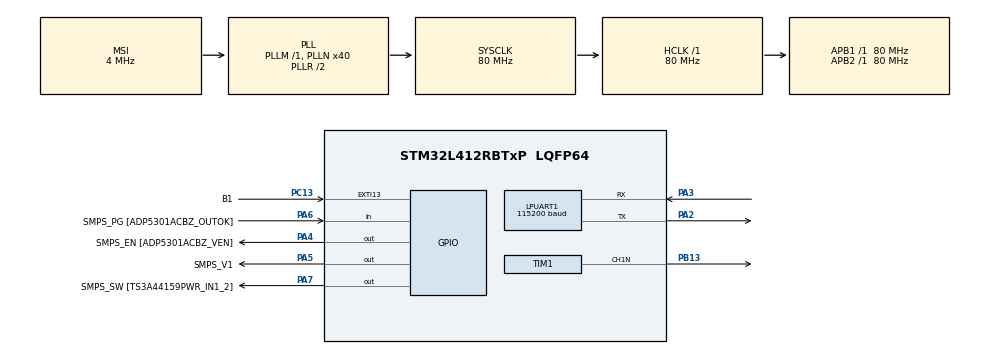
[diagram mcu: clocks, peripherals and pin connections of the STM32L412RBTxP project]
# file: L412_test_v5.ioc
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LPUART1.BaudRate=115200
LPUART1.WordLength=UART_WORDLENGTH_8B
Mcu.Family=STM32L4
Mcu.Name=STM32L412RBTxP
Mcu.Package=LQFP64
NVIC.EXTI15_10_IRQn=true\:0\:0\:false\:false\:true\:true\:true\:true
NVIC.PriorityGroup=NVIC_PRIORITYGROUP_4
PA13\ (JTMS/SWDIO).GPIO_Label=TMS
PA13\ (JTMS/SWDIO).Mode=Serial_Wire
PA13\ (JTMS/SWDIO).Signal=SYS_JTMS-SWDIO
PA14\ (JTCK/SWCLK).GPIO_Label=TCK
PA14\ (JTCK/SWCLK).Mode=Serial_Wire
PA14\ (JTCK/SWCLK).Signal=SYS_JTCK-SWCLK
PA2.Mode=Asynchronous
PA2.Signal=LPUART1_TX
PA3.Mode=Asynchronous
PA3.Signal=LPUART1_RX
PA4.GPIO_Label=SMPS_EN [ADP5301ACBZ_VEN]
PA4.Signal=GPIO_Output
PA5.GPIO_Label=SMPS_V1
PA5.GPIO_ModeDefaultOutputPP=GPIO_MODE_OUTPUT_PP
PA5.GPIO_PuPd=GPIO_NOPULL
PA5.GPIO_Speed=GPIO_SPEED_FREQ_LOW
PA5.Signal=GPIO_Output
PA6.GPIO_Label=SMPS_PG [ADP5301ACBZ_OUTOK]
PA6.GPIO_PuPd=GPIO_PULLUP
PA6.Signal=GPIO_Input
PA7.GPIO_Label=SMPS_SW [TS3A44159PWR_IN1_2]
PA7.Signal=GPIO_Output
PB13.Mode=PWM Generation1 CH1N
PB13.Signal=TIM1_CH1N
PB3\ (JTDO/TRACESWO).GPIO_Label=SWO
PB3\ (JTDO/TRACESWO).Signal=SYS_JTDO-SWO
PC13.GPIO_Label=B1
PC13.Signal=GPXTI13
PC14-OSC32_IN\ (PC14).Mode=LSE-External-Oscillator
PC14-OSC32_IN\ (PC14).Signal=RCC_OSC32_IN
PC15-OSC32_OUT\ (PC15).Mode=LSE-External-Oscillator
PC15-OSC32_OUT\ (PC15).Signal=RCC_OSC32_OUT
PH0-OSC_IN\ (PH0).GPIO_Label=MCO
PH0-OSC_IN\ (PH0).Mode=HSE-External-Clock-Source
PH0-OSC_IN\ (PH0).Signal=RCC_OSC_IN
PH1-OSC_OUT\ (PH1).Signal=RCC_OSC_OUT
ProjectManager.HeapSize=0x200
ProjectManager.StackSize=0x400
ProjectManager.TargetToolchain=STM32CubeIDE
RCC.ADCFreq_Value=80000000
RCC.AHBFreq_Value=80000000
RCC.APB1Freq_Value=80000000
RCC.APB1TimFreq_Value=80000000
RCC.APB2Freq_Value=80000000
RCC.APB2TimFreq_Value=80000000
RCC.CortexFreq_Value=80000000
RCC.FLatency=FLASH_LATENCY_4
RCC.HCLKFreq_Value=80000000
RCC.HSE_VALUE=8000000
RCC.HSI48_VALUE=48000000
RCC.HSICalibrationValue=64
RCC.HSI_VALUE=16000000
RCC.MSIAutoCalibration=DISABLED
RCC.MSI_VALUE=4000000
RCC.PLLN=40
RCC.PREFETCH_ENABLE=1
RCC.SYSCLKFreq_VALUE=80000000
RCC.SYSCLKSource=RCC_SYSCLKSOURCE_PLLCLK
RCC.USBFreq_Value=4000000
RCC.VCOOutputFreq_Value=160000000
TIM1.Channel-PWM\ Generation1\ CH1N=TIM_CHANNEL_1
TIM1.Prescaler=79
TIM2.TIM_MasterSlaveMode=TIM_MASTERSLAVEMODE_DISABLE
VP_TIM1_VS_ClockSourceINT.Mode=Internal
VP_TIM2_VS_ClockSourceINT.Mode=Internal
board=NUCLEO-L412RB-P

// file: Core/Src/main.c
/* USER CODE BEGIN Header */
/**
  ******************************************************************************
  * @file           : main.c
  * @brief          : Main program body
  ******************************************************************************
  * @attention
  *
  * Copyright (c) 2025 STMicroelectronics.
  * All rights reserved.
  *
  * This software is licensed under terms that can be found in the LICENSE file
  * in the root directory of this software component.
  * If no LICENSE file comes with this software, it is provided AS-IS.
  *
  ******************************************************************************
  */
/* USER CODE END Header */
#include "main.h"

/* USER CODE BEGIN Includes */
//add
#include <string.h>
#include <stdio.h>
/* USER CODE END Includes */

UART_HandleTypeDef hlpuart1;

TIM_HandleTypeDef htim1;
TIM_HandleTypeDef htim2;

/* USER CODE BEGIN PV */
//add
volatile uint8_t g_mode = 0;      // 0=OFF, 1..3=mode - off 상태로 시작
volatile uint8_t g_update = 0;
static uint32_t g_last_btn_ms = 0; // debounce

/* USER CODE END PV */

void SystemClock_Config(void);
static void MX_GPIO_Init(void);
static void MX_LPUART1_UART_Init(void);
static void MX_TIM1_Init(void);
static void MX_TIM2_Init(void);

/* USER CODE BEGIN 0 */
//add
static void PWM_ApplyMode(uint8_t mode)
{
  // TIM1 tick = 1MHz because PSC=79 (already set in MX_TIM1_Init)
  // ARR = (1MHz / freq) - 1
  uint32_t arr = 0;
  uint32_t ccr = 0;

  if (mode == 0)
  {
    HAL_TIMEx_PWMN_Stop(&htim1, TIM_CHANNEL_1);
    return;
  }

  switch (mode)
  {
    case 1: // 1kHz 10%
      arr = 1000 - 1;
      ccr = (1000 * 10) / 100;
      break;

    case 2: // 3kHz 30% (근사: 3003Hz)
      arr = 333 - 1;
      ccr = (333 * 30) / 100;
      break;

    case 3: // 10kHz 99%
      arr = 100 - 1;
      ccr = (100 * 99) / 100;
      break;
  }

  __HAL_TIM_SET_AUTORELOAD(&htim1, arr);
  __HAL_TIM_SET_COMPARE(&htim1, TIM_CHANNEL_1, ccr);
  __HAL_TIM_SET_COUNTER(&htim1, 0);
// 카운터 0 초기화
  // CH1N 출력 시작(핵심)
  HAL_TIMEx_PWMN_Start(&htim1, TIM_CHANNEL_1);
}

/* USER CODE END 0 */

int main(void)
{

  /* MCU Configuration--------------------------------------------------------*/

  /* Reset of all peripherals, Initializes the Flash interface and the Systick. */
  HAL_Init();

  /* Configure the system clock */
  SystemClock_Config();

  /* Initialize all configured peripherals */
  MX_GPIO_Init();
  MX_LPUART1_UART_Init();
  MX_TIM1_Init();
  MX_TIM2_Init();
  /* USER CODE BEGIN 2 */
// add
// PWM 초기 적용 (OFF)
PWM_ApplyMode(0);

  // add
  // void HAL_GPIO_EXTI_Callback(uint16_t GPIO_Pin)
  // {
  //   if (GPIO_Pin == B1_Pin)
  //   {
  //     uint8_t str[] = "Button Pressed\r\n";
  //     HAL_UART_Transmit(&hlpuart1, str, sizeof(str), 100);
  //   }
  // }
  /* USER CODE END 2 */

  /* Infinite loop */
  /* USER CODE BEGIN WHILE */
  while (1)
  {
      //add
      if (g_update)
    {
      g_update = 0;

      PWM_ApplyMode(g_mode);

      char buf[64];
      int n = 0;
      switch (g_mode)
      {
        case 0: n = snprintf(buf, sizeof(buf), "PWM OFF\r\n"); break;
        case 1: n = snprintf(buf, sizeof(buf), "PWM 1kHz 10%%\r\n"); break;
        case 2: n = snprintf(buf, sizeof(buf), "PWM 3kHz 30%%\r\n"); break;
        case 3: n = snprintf(buf, sizeof(buf), "PWM 10kHz 99%%\r\n"); break;
      }

      uint8_t str[] = "Button Pressed\r\n";
      HAL_UART_Transmit(&hlpuart1, str, sizeof(str), 100);
      HAL_UART_Transmit(&hlpuart1, (uint8_t*)buf, (uint16_t)n, 100);
    }
    // HAL_GPIO_WritePin(LD4_GPIO_Port, LD4_Pin, GPIO_PIN_SET);  // LED On
    // HAL_Delay(500);
    // HAL_GPIO_WritePin(LD4_GPIO_Port, LD4_Pin, GPIO_PIN_RESET);  // LED Off
    // HAL_Delay(500);
    /* USER CODE END WHILE */

}

void SystemClock_Config(void)
{
  RCC_OscInitTypeDef RCC_OscInitStruct = {0};
  RCC_ClkInitTypeDef RCC_ClkInitStruct = {0};

  /** Configure the main internal regulator output voltage
  */
  if (HAL_PWREx_ControlVoltageScaling(PWR_REGULATOR_VOLTAGE_SCALE1) != HAL_OK)
  {
    Error_Handler();
  }

  /** Initializes the RCC Oscillators according to the specified parameters
  * in the RCC_OscInitTypeDef structure.
  */
  RCC_OscInitStruct.OscillatorType = RCC_OSCILLATORTYPE_MSI;
  RCC_OscInitStruct.MSIState = RCC_MSI_ON;
  RCC_OscInitStruct.MSICalibrationValue = 0;
  RCC_OscInitStruct.MSIClockRange = RCC_MSIRANGE_6;
  RCC_OscInitStruct.PLL.PLLState = RCC_PLL_ON;
  RCC_OscInitStruct.PLL.PLLSource = RCC_PLLSOURCE_MSI;
  RCC_OscInitStruct.PLL.PLLM = 1;
  RCC_OscInitStruct.PLL.PLLN = 40;
  RCC_OscInitStruct.PLL.PLLQ = RCC_PLLQ_DIV2;
  RCC_OscInitStruct.PLL.PLLR = RCC_PLLR_DIV2;
  if (HAL_RCC_OscConfig(&RCC_OscInitStruct) != HAL_OK)
  {
    Error_Handler();
  }

  /** Initializes the CPU, AHB and APB buses clocks
  */
  RCC_ClkInitStruct.ClockType = RCC_CLOCKTYPE_HCLK|RCC_CLOCKTYPE_SYSCLK
                              |RCC_CLOCKTYPE_PCLK1|RCC_CLOCKTYPE_PCLK2;
  RCC_ClkInitStruct.SYSCLKSource = RCC_SYSCLKSOURCE_PLLCLK;
  RCC_ClkInitStruct.AHBCLKDivider = RCC_SYSCLK_DIV1;
  RCC_ClkInitStruct.APB1CLKDivider = RCC_HCLK_DIV1;
  RCC_ClkInitStruct.APB2CLKDivider = RCC_HCLK_DIV1;

  if (HAL_RCC_ClockConfig(&RCC_ClkInitStruct, FLASH_LATENCY_4) != HAL_OK)
  {
    Error_Handler();
  }
}

static void MX_LPUART1_UART_Init(void)
{

  hlpuart1.Instance = LPUART1;
  hlpuart1.Init.BaudRate = 115200;
  hlpuart1.Init.WordLength = UART_WORDLENGTH_8B;
  hlpuart1.Init.StopBits = UART_STOPBITS_1;
  hlpuart1.Init.Parity = UART_PARITY_NONE;
  hlpuart1.Init.Mode = UART_MODE_TX_RX;
  hlpuart1.Init.HwFlowCtl = UART_HWCONTROL_NONE;
  hlpuart1.Init.OneBitSampling = UART_ONE_BIT_SAMPLE_DISABLE;
  hlpuart1.AdvancedInit.AdvFeatureInit = UART_ADVFEATURE_NO_INIT;
  if (HAL_UART_Init(&hlpuart1) != HAL_OK)
  {
    Error_Handler();
  }

}

static void MX_TIM1_Init(void)
{

  TIM_ClockConfigTypeDef sClockSourceConfig = {0};
  TIM_MasterConfigTypeDef sMasterConfig = {0};
  TIM_OC_InitTypeDef sConfigOC = {0};
  TIM_BreakDeadTimeConfigTypeDef sBreakDeadTimeConfig = {0};

  htim1.Instance = TIM1;
  htim1.Init.Prescaler = 79;
  htim1.Init.CounterMode = TIM_COUNTERMODE_UP;
  htim1.Init.Period = 65535;
  htim1.Init.ClockDivision = TIM_CLOCKDIVISION_DIV1;
  htim1.Init.RepetitionCounter = 0;
  htim1.Init.AutoReloadPreload = TIM_AUTORELOAD_PRELOAD_DISABLE;
  if (HAL_TIM_Base_Init(&htim1) != HAL_OK)
  {
    Error_Handler();
  }
  sClockSourceConfig.ClockSource = TIM_CLOCKSOURCE_INTERNAL;
  if (HAL_TIM_ConfigClockSource(&htim1, &sClockSourceConfig) != HAL_OK)
  {
    Error_Handler();
  }
  if (HAL_TIM_PWM_Init(&htim1) != HAL_OK)
  {
    Error_Handler();
  }
  sMasterConfig.MasterOutputTrigger = TIM_TRGO_RESET;
  sMasterConfig.MasterOutputTrigger2 = TIM_TRGO2_RESET;
  sMasterConfig.MasterSlaveMode = TIM_MASTERSLAVEMODE_DISABLE;
  if (HAL_TIMEx_MasterConfigSynchronization(&htim1, &sMasterConfig) != HAL_OK)
  {
    Error_Handler();
  }
  sConfigOC.OCMode = TIM_OCMODE_PWM1;
  sConfigOC.Pulse = 0;
  sConfigOC.OCPolarity = TIM_OCPOLARITY_HIGH;
  sConfigOC.OCNPolarity = TIM_OCNPOLARITY_HIGH;
  sConfigOC.OCFastMode = TIM_OCFAST_DISABLE;
  sConfigOC.OCIdleState = TIM_OCIDLESTATE_RESET;
  sConfigOC.OCNIdleState = TIM_OCNIDLESTATE_RESET;
  if (HAL_TIM_PWM_ConfigChannel(&htim1, &sConfigOC, TIM_CHANNEL_1) != HAL_OK)
  {
    Error_Handler();
  }
  sBreakDeadTimeConfig.OffStateRunMode = TIM_OSSR_DISABLE;
  sBreakDeadTimeConfig.OffStateIDLEMode = TIM_OSSI_DISABLE;
  sBreakDeadTimeConfig.LockLevel = TIM_LOCKLEVEL_OFF;
  sBreakDeadTimeConfig.DeadTime = 0;
  sBreakDeadTimeConfig.BreakState = TIM_BREAK_DISABLE;
  sBreakDeadTimeConfig.BreakPolarity = TIM_BREAKPOLARITY_HIGH;
  sBreakDeadTimeConfig.BreakFilter = 0;
  sBreakDeadTimeConfig.Break2State = TIM_BREAK2_DISABLE;
  sBreakDeadTimeConfig.Break2Polarity = TIM_BREAK2POLARITY_HIGH;
  sBreakDeadTimeConfig.Break2Filter = 0;
  sBreakDeadTimeConfig.AutomaticOutput = TIM_AUTOMATICOUTPUT_DISABLE;
  if (HAL_TIMEx_ConfigBreakDeadTime(&htim1, &sBreakDeadTimeConfig) != HAL_OK)
  {
    Error_Handler();
  }
  HAL_TIM_MspPostInit(&htim1);

}

static void MX_TIM2_Init(void)
{

  TIM_ClockConfigTypeDef sClockSourceConfig = {0};
  TIM_MasterConfigTypeDef sMasterConfig = {0};

  htim2.Instance = TIM2;
  htim2.Init.Prescaler = 0;
  htim2.Init.CounterMode = TIM_COUNTERMODE_UP;
  htim2.Init.Period = 4294967295;
  htim2.Init.ClockDivision = TIM_CLOCKDIVISION_DIV1;
  htim2.Init.AutoReloadPreload = TIM_AUTORELOAD_PRELOAD_DISABLE;
  if (HAL_TIM_Base_Init(&htim2) != HAL_OK)
  {
    Error_Handler();
  }
  sClockSourceConfig.ClockSource = TIM_CLOCKSOURCE_INTERNAL;
  if (HAL_TIM_ConfigClockSource(&htim2, &sClockSourceConfig) != HAL_OK)
  {
    Error_Handler();
  }
  sMasterConfig.MasterOutputTrigger = TIM_TRGO_RESET;
  sMasterConfig.MasterSlaveMode = TIM_MASTERSLAVEMODE_DISABLE;
  if (HAL_TIMEx_MasterConfigSynchronization(&htim2, &sMasterConfig) != HAL_OK)
  {
    Error_Handler();
  }

}

static void MX_GPIO_Init(void)
{
  GPIO_InitTypeDef GPIO_InitStruct = {0};

  /* GPIO Ports Clock Enable */
  __HAL_RCC_GPIOC_CLK_ENABLE();
  __HAL_RCC_GPIOH_CLK_ENABLE();
  __HAL_RCC_GPIOA_CLK_ENABLE();
  __HAL_RCC_GPIOB_CLK_ENABLE();

  /*Configure GPIO pin Output Level */
  HAL_GPIO_WritePin(GPIOA, SMPS_EN_Pin|SMPS_V1_Pin|SMPS_SW_Pin, GPIO_PIN_RESET);

  /*Configure GPIO pin : B1_Pin */
  GPIO_InitStruct.Pin = B1_Pin;
  GPIO_InitStruct.Mode = GPIO_MODE_IT_RISING;
  GPIO_InitStruct.Pull = GPIO_NOPULL;
  HAL_GPIO_Init(B1_GPIO_Port, &GPIO_InitStruct);

  /*Configure GPIO pins : SMPS_EN_Pin SMPS_V1_Pin SMPS_SW_Pin */
  GPIO_InitStruct.Pin = SMPS_EN_Pin|SMPS_V1_Pin|SMPS_SW_Pin;
  GPIO_InitStruct.Mode = GPIO_MODE_OUTPUT_PP;
  GPIO_InitStruct.Pull = GPIO_NOPULL;
  GPIO_InitStruct.Speed = GPIO_SPEED_FREQ_LOW;
  HAL_GPIO_Init(GPIOA, &GPIO_InitStruct);

  /*Configure GPIO pin : SMPS_PG_Pin */
  GPIO_InitStruct.Pin = SMPS_PG_Pin;
  GPIO_InitStruct.Mode = GPIO_MODE_INPUT;
  GPIO_InitStruct.Pull = GPIO_PULLUP;
  HAL_GPIO_Init(SMPS_PG_GPIO_Port, &GPIO_InitStruct);

  /* EXTI interrupt init*/
  HAL_NVIC_SetPriority(EXTI15_10_IRQn, 0, 0);
  HAL_NVIC_EnableIRQ(EXTI15_10_IRQn);

}

/* USER CODE BEGIN 4 */
//add
// void HAL_GPIO_EXTI_Callback(uint16_t GPIO_Pin)
// {
//   if (GPIO_Pin == B1_Pin)
//   {
//     const char str[] = "Button Pressed\r\n";
//     HAL_UART_Transmit(&hlpuart1, (uint8_t*)str, sizeof(str)-1, HAL_MAX_DELAY);
//   }
// }
// void HAL_GPIO_EXTI_Callback(uint16_t GPIO_Pin)
// {
//   if (GPIO_Pin == B1_Pin)
//   {
//     const char str[] = "Button Pressed2\r\n";
//     HAL_UART_Transmit(&hlpuart1, (uint8_t*)str, sizeof(str)-1, HAL_MAX_DELAY);
//   }
// }
// 여기서 uart 출력 같이 써도 되는지 확인하기
//add
// 인터럽트 통한 4가지 모드 변경
void HAL_GPIO_EXTI_Callback(uint16_t GPIO_Pin)
{
  if (GPIO_Pin == B1_Pin)
  {
    uint32_t now = HAL_GetTick();
    if ((now - g_last_btn_ms) >= 200U)  // debounce 200ms
    {
      g_last_btn_ms = now;
      g_mode = (g_mode + 1) % 4;        // 0=OFF -> 1 -> 2 -> 3 -> 0...
      g_update = 1;
    }
  }
}

/* USER CODE END 4 */

void Error_Handler(void)
{
  __disable_irq();
  while (1)
  {
  }
}
